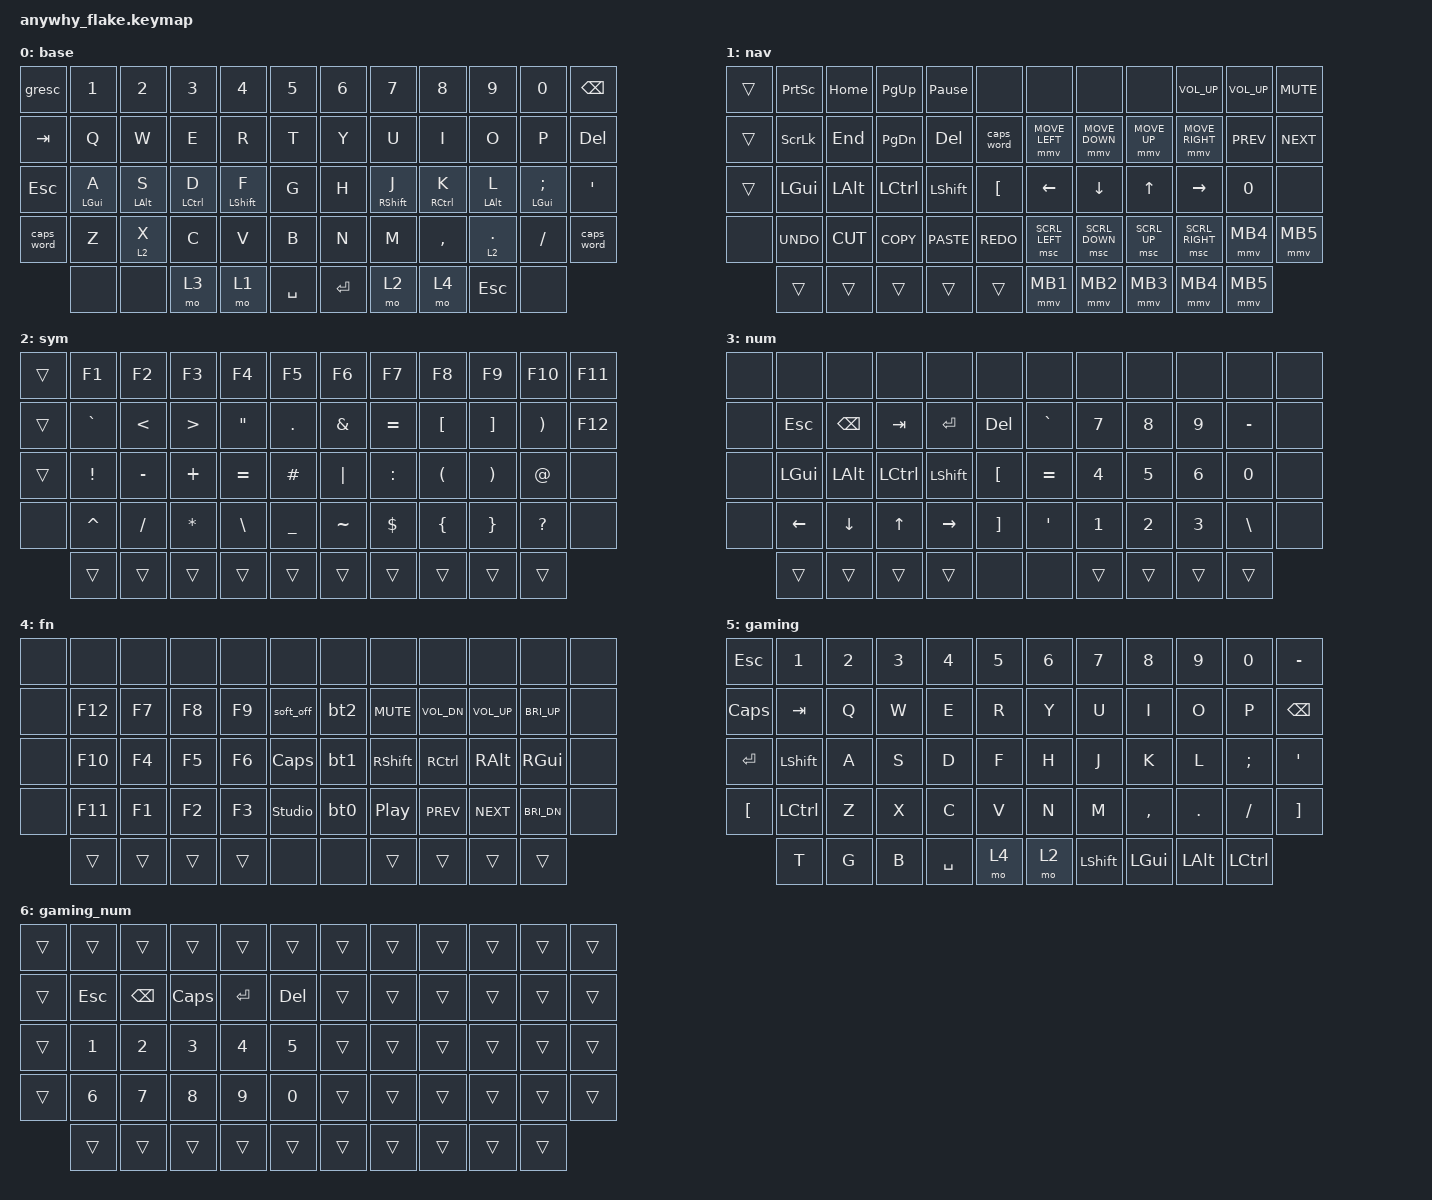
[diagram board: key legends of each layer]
#include <behaviors.dtsi>
#include <dt-bindings/zmk/bt.h>
#include <dt-bindings/zmk/keys.h>
#include <dt-bindings/zmk/pointing.h>



/ {
    combos {
        compatible = "zmk,combos";

        bt_sel_3 {
            bindings = <&bt3>;
            key-positions = <42 30>;
            layers = <2>;
        };

        bt_sel_4 {
            bindings = <&bt4>;
            key-positions = <30 18>;
            layers = <2>;
        };

        enter_gaming {
            bindings = <&sl 3>;
            key-positions = <26 15 28>;
            layers = <2>;
        };

        leave_gaming {
            bindings = <&sl 0>;
            key-positions = <31 20 33>;
            layers = <4>;
        };

        grave {
            bindings = <&kp GRAVE>;
            key-positions = <13 25>;
            layers = <3>;
        };
    };

    macros {
        bt_clr_0: bt_clr_0 {
            compatible = "zmk,behavior-macro";
            #binding-cells = <0>;
            bindings = <&bt BT_SEL 0 &bt BT_CLR>;
            label = "BT_CLR_0";
        };

        bt_clr_1: bt_clr_1 {
            compatible = "zmk,behavior-macro";
            #binding-cells = <0>;
            bindings = <&bt BT_SEL 1 &bt BT_CLR>;
            label = "BT_CLR_1";
        };

        bt_clr_2: bt_clr_2 {
            compatible = "zmk,behavior-macro";
            #binding-cells = <0>;
            bindings = <&bt BT_SEL 2 &bt BT_CLR>;
            label = "BT_CLR_2";
        };

        bt_clr_3: bt_clr_3 {
            compatible = "zmk,behavior-macro";
            #binding-cells = <0>;
            bindings = <&bt BT_SEL 3 &bt BT_CLR>;
            label = "BT_CLR_3";
        };

        bt_clr_4: bt_clr_4 {
            compatible = "zmk,behavior-macro";
            #binding-cells = <0>;
            bindings = <&bt BT_SEL 4 &bt BT_CLR>;
            label = "BT_CLR_4";
        };
    };

    behaviors {
        bt0: bt0 {
            compatible = "zmk,behavior-mod-morph";
            label = "BT0";
            bindings = <&bt BT_SEL 0>, <&bt_clr_0>;

            #binding-cells = <0>;
            mods = <(MOD_LSFT|MOD_RSFT)>;
        };

        bt1: bt1 {
            compatible = "zmk,behavior-mod-morph";
            label = "BT1";
            bindings = <&bt BT_SEL 1>, <&bt_clr_1>;

            #binding-cells = <0>;
            mods = <(MOD_LSFT|MOD_RSFT)>;
        };

        bt2: bt2 {
            compatible = "zmk,behavior-mod-morph";
            label = "BT2";
            bindings = <&bt BT_SEL 2>, <&bt_clr_2>;

            #binding-cells = <0>;
            mods = <(MOD_LSFT|MOD_RSFT)>;
        };

        bt3: bt3 {
            compatible = "zmk,behavior-mod-morph";
            label = "BT3";
            bindings = <&bt BT_SEL 3>, <&bt_clr_3>;

            #binding-cells = <0>;
            mods = <(MOD_LSFT|MOD_RSFT)>;
        };

        bt4: bt4 {
            compatible = "zmk,behavior-mod-morph";
            label = "BT4";
            bindings = <&bt BT_SEL 4>, <&bt_clr_4>;

            #binding-cells = <0>;
            mods = <(MOD_LSFT|MOD_RSFT)>;
        };
        hml: home_row_mod_left {
            compatible = "zmk,behavior-hold-tap";
            #binding-cells = <2>;
            flavor = "balanced";
            require-prior-idle-ms = <150>;
            tapping-term-ms = <280>;
            quick-tap-ms = <175>;
            bindings = <&kp>, <&kp>;
            hold-trigger-key-positions = < 25 26 27 28 >; // List of keys on the right side of the keyboard
            hold-trigger-on-release;
        };
        hmr: home_row_mod_right {
            compatible = "zmk,behavior-hold-tap";
            #binding-cells = <2>;
            flavor = "balanced";
            require-prior-idle-ms = <150>;
            tapping-term-ms = <280>;
            quick-tap-ms = <175>;
            bindings = <&kp>, <&kp>;
            hold-trigger-key-positions = < 31 32 33 34 >; // List of keys on the left side of the keyboard
            hold-trigger-on-release;
        };
    };

    keymap {
        compatible = "zmk,keymap";

        base {
            bindings = <
&gresc     &kp N1         &kp N2         &kp N3         &kp N4          &kp N5         &kp N6   &kp N7          &kp N8         &kp N9       &kp N0          &kp BSPC 
&kp TAB    &kp Q          &kp W          &kp E          &kp R           &kp T          &kp Y    &kp U           &kp I          &kp O        &kp P           &kp DEL 
&kp ESC    &hml LGUI A    &hml LALT S    &hml LCTRL D   &hml LSHIFT F   &kp G          &kp H    &hmr RSHIFT J   &hmr RCTRL K   &hmr LALT L  &hmr LGUI SEMI  &kp APOS
&caps_word &kp Z          &lt 2 X        &kp C          &kp V           &kp B          &kp N    &kp M           &kp COMMA      &lt 2 DOT    &kp FSLH        &caps_word
           &none          &none          &mo 3          &mo 1           &kp SPACE      &kp RET  &mo 2           &mo 4          &kp ESC      &none 
            >;
        };

        nav {
            bindings = <
&trans  &kp PSCRN   &kp HOME       &kp PAGE_UP    &kp PAUSE_BREAK  &none                        &none           &none           &none         &kp C_VOL_UP     &kp C_VOL_UP  &kp C_MUTE
&trans  &kp SLCK    &kp END        &kp PAGE_DOWN  &kp DEL          &caps_word                   &mmv MOVE_LEFT  &mmv MOVE_DOWN  &mmv MOVE_UP  &mmv MOVE_RIGHT  &kp C_PREV    &kp C_NEXT
&trans  &kp LGUI    &kp LALT       &kp LCTRL      &kp LSHFT        &kp LBKT                     &kp LEFT        &kp DOWN        &kp UP        &kp RIGHT        &kp N0        &none
&none   &kp K_UNDO  &kp K_CUT      &kp K_COPY     &kp K_PASTE      &kp K_REDO                   &msc SCRL_LEFT  &msc SCRL_DOWN  &msc SCRL_UP  &msc SCRL_RIGHT  &mmv MB4      &mmv MB5
        &trans      &trans         &trans         &trans           &trans                       &mmv MB1        &mmv MB2        &mmv MB3      &mmv MB4         &mmv MB5
            >;
        };

        sym {
            bindings = <
&trans  &kp F1     &kp F2        &kp F3            &kp F4     &kp F5      &kp F6     &kp F7     &kp F8    &kp F9    &kp F10    &kp F11
&trans  &kp GRAVE  &kp LT        &kp GT            &kp DQT    &kp DOT     &kp AMPS   &kp EQUAL  &kp LBKT  &kp RBKT  &kp RPAR   &kp F12
&trans  &kp EXCL   &kp MINUS     &kp PLUS          &kp EQUAL  &kp HASH    &kp PIPE   &kp COLON  &kp LPAR  &kp RPAR  &kp AT     &none
&none   &kp CARET  &kp SLASH     &kp ASTERISK      &kp BSLH   &kp UNDER   &kp TILDE  &kp DOLLAR &kp LBRC  &kp RBRC  &kp QMARK  &none
       &trans      &trans        &trans            &trans     &trans      &trans     &trans     &trans    &trans  &trans
            >;
        };

        num {
            bindings = <
&none  &none     &none          &none      &none      &none       &none      &none   &none   &none   &none      &none
&none  &kp ESC   &kp BACKSPACE  &kp TAB    &kp ENTER  &kp DEL     &kp GRAVE  &kp N7  &kp N8  &kp N9  &kp MINUS  &none
&none  &kp LGUI  &kp LALT       &kp LCTRL  &kp LSHFT  &kp LBKT    &kp EQUAL  &kp N4  &kp N5  &kp N6  &kp N0     &none
&none  &kp LEFT  &kp DOWN       &kp UP     &kp RIGHT  &kp RBKT    &kp SQT    &kp N1  &kp N2  &kp N3  &kp BSLH   &none
       &trans    &trans         &trans     &trans     &none       &none      &trans  &trans  &trans  &trans
            >;
        };

        fn {
            bindings = <
&none  &none    &none   &none   &none   &none             &none  &none       &none         &none         &none         &none
&none  &kp F12  &kp F7  &kp F8  &kp F9  &soft_off         &bt2   &kp C_MUTE  &kp C_VOL_DN  &kp C_VOL_UP  &kp C_BRI_UP  &none
&none  &kp F10  &kp F4  &kp F5  &kp F6  &kp CAPS          &bt1   &kp RSHFT   &kp RCTRL     &kp RALT      &kp RGUI      &none
&none  &kp F11  &kp F1  &kp F2  &kp F3  &studio_unlock    &bt0   &kp C_PP    &kp C_PREV    &kp C_NEXT    &kp C_BRI_DN  &none
       &trans   &trans  &trans  &trans  &none             &none  &trans      &trans        &trans        &trans
            >;
        };

        gaming {
            bindings = <
&kp ESC    &kp N1     &kp N2  &kp N3  &kp N4     &kp N5    &kp N6  &kp N7     &kp N8     &kp N9    &kp N0     &kp MINUS
&kp CAPS   &kp TAB    &kp Q   &kp W   &kp E      &kp R     &kp Y   &kp U      &kp I      &kp O     &kp P      &kp BSPC
&kp ENTER  &kp LSHFT  &kp A   &kp S   &kp D      &kp F     &kp H   &kp J      &kp K      &kp L     &kp SEMI   &kp APOS
&kp LBKT   &kp LCTRL  &kp Z   &kp X   &kp C      &kp V     &kp N   &kp M      &kp COMMA  &kp DOT   &kp FSLH   &kp RBKT
           &kp T      &kp G   &kp B   &kp SPACE  &mo 4     &mo 2   &kp LSHFT  &kp LGUI   &kp LALT  &kp LCTRL
            >;
        };

        gaming_num {
            bindings = <
&trans  &trans   &trans    &trans    &trans     &trans     &trans  &trans  &trans  &trans  &trans  &trans
&trans  &kp ESC  &kp BSPC  &kp CAPS  &kp ENTER  &kp DEL    &trans  &trans  &trans  &trans  &trans  &trans
&trans  &kp N1   &kp N2    &kp N3    &kp N4     &kp N5     &trans  &trans  &trans  &trans  &trans  &trans
&trans  &kp N6   &kp N7    &kp N8    &kp N9     &kp N0     &trans  &trans  &trans  &trans  &trans  &trans
        &trans   &trans    &trans    &trans     &trans     &trans  &trans  &trans  &trans  &trans
            >;
        };
    };
};

// ORIGINAL LAYERS
//         num {
//             bindings = <
// &none  &none     &none          &none      &none      &none       &none      &none   &none   &none   &none      &none
// &none  &kp ESC   &kp BACKSPACE  &kp TAB    &kp ENTER  &kp DEL     &kp GRAVE  &kp N7  &kp N8  &kp N9  &kp MINUS  &none
// &none  &kp LGUI  &kp LALT       &kp LCTRL  &kp LSHFT  &kp LBKT    &kp EQUAL  &kp N4  &kp N5  &kp N6  &kp N0     &none
// &none  &kp LEFT  &kp DOWN       &kp UP     &kp RIGHT  &kp RBKT    &kp SQT    &kp N1  &kp N2  &kp N3  &kp BSLH   &none
//        &trans    &trans         &trans     &trans     &none       &none      &trans  &trans  &trans  &trans
//             >;
//         };
//
//         fn {
//             bindings = <
// &none  &none    &none   &none   &none   &none             &none  &none       &none         &none         &none         &none
// &none  &kp F12  &kp F7  &kp F8  &kp F9  &soft_off         &bt2   &kp C_MUTE  &kp C_VOL_DN  &kp C_VOL_UP  &kp C_BRI_UP  &none
// &none  &kp F10  &kp F4  &kp F5  &kp F6  &kp CAPS          &bt1   &kp RSHFT   &kp RCTRL     &kp RALT      &kp RGUI      &none
// &none  &kp F11  &kp F1  &kp F2  &kp F3  &studio_unlock    &bt0   &kp C_PP    &kp C_PREV    &kp C_NEXT    &kp C_BRI_DN  &none
//        &trans   &trans  &trans  &trans  &none             &none  &trans      &trans        &trans        &trans
//             >;
//         };

//         gaming {
//             bindings = <
// &kp ESC    &kp N1     &kp N2  &kp N3  &kp N4     &kp N5    &kp N6  &kp N7     &kp N8     &kp N9    &kp N0     &kp MINUS
// &kp CAPS   &kp TAB    &kp Q   &kp W   &kp E      &kp R     &kp Y   &kp U      &kp I      &kp O     &kp P      &kp BSPC
// &kp ENTER  &kp LSHFT  &kp A   &kp S   &kp D      &kp F     &kp H   &kp J      &kp K      &kp L     &kp SEMI   &kp APOS
// &kp LBKT   &kp LCTRL  &kp Z   &kp X   &kp C      &kp V     &kp N   &kp M      &kp COMMA  &kp DOT   &kp FSLH   &kp RBKT
//            &kp T      &kp G   &kp B   &kp SPACE  &mo 4     &mo 2   &kp LSHFT  &kp LGUI   &kp LALT  &kp LCTRL
//             >;
//         };

//         gaming_num {
//             bindings = <
// &trans  &trans   &trans    &trans    &trans     &trans     &trans  &trans  &trans  &trans  &trans  &trans
// &trans  &kp ESC  &kp BSPC  &kp CAPS  &kp ENTER  &kp DEL    &trans  &trans  &trans  &trans  &trans  &trans
// &trans  &kp N1   &kp N2    &kp N3    &kp N4     &kp N5     &trans  &trans  &trans  &trans  &trans  &trans
// &trans  &kp N6   &kp N7    &kp N8    &kp N9     &kp N0     &trans  &trans  &trans  &trans  &trans  &trans
//         &trans   &trans    &trans    &trans     &trans     &trans  &trans  &trans  &trans  &trans
//             >;
//         };
//     };
// };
